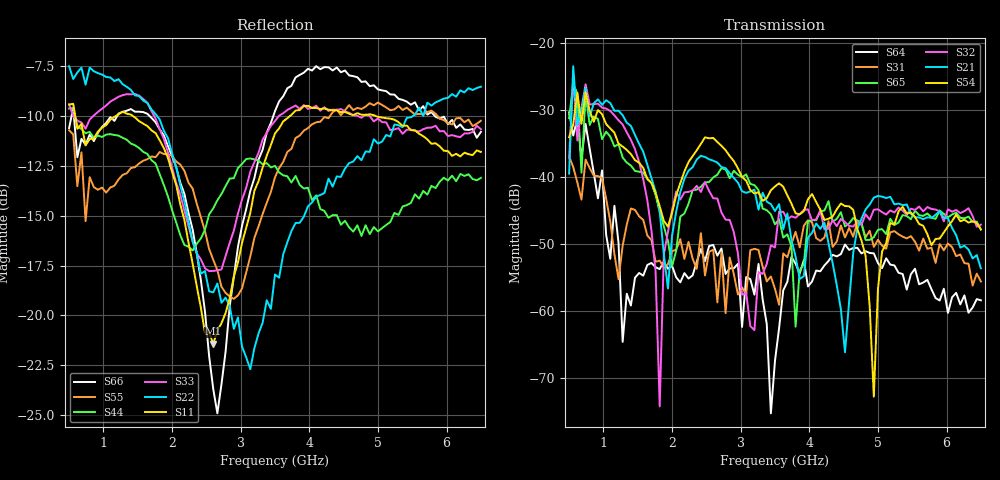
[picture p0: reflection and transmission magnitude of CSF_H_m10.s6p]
!Keysight Technologies,M9804A,MY58100912,A.14.10.03
!Date: Thursday, April 27, 2023 10:28:33
!Correction: S11(C  6-Port  )
!S12(C  6-Port  )
!S13(C  6-Port  )
!S14(C  6-Port  )
!S15(C  6-Port  )
!S16(C  6-Port  )
!S21(C  6-Port  )
!S22(C  6-Port  )
!S23(C  6-Port  )
!S24(C  6-Port  )
!S25(C  6-Port  )
!S26(C  6-Port  )
!S31(C  6-Port  )
!S32(C  6-Port  )
!S33(C  6-Port  )
!S34(C  6-Port  )
!S35(C  6-Port  )
!S36(C  6-Port  )
!S41(C  6-Port  )
!S42(C  6-Port  )
!S43(C  6-Port  )
!S44(C  6-Port  )
!S45(C  6-Port  )
!S46(C  6-Port  )
!S51(C  6-Port  )
!S52(C  6-Port  )
!S53(C  6-Port  )
!S54(C  6-Port  )
!S55(C  6-Port  )
!S56(C  6-Port  )
!S61(C  6-Port  )
!S62(C  6-Port  )
!S63(C  6-Port  )
!S64(C  6-Port  )
!S65(C  6-Port  )
!S66(C  6-Port  )
!S6P File: Measurement: :
# Hz S  RI  R 50
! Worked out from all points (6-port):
!   101 points, 500 MHz to 6.5 GHz, reference 50 ohm
!   strongest paths, dB at 500 MHz, 2 GHz, 3.5 GHz, 5 GHz, 6.5 GHz:
!     S54: -34.0, -45.4, -41.4, -56.7, -47.8
!     S21: -39.5, -48.8, -45.1, -42.8, -53.6
!     S32: -37.2, -45.0, -50.5, -44.8, -47.1
!     S65: -31.2, -53.3, -47.1, -47.9, -47.9
!     S31: -36.9, -51.1, -56.7, -49.4, -55.6
!     S64: -30.3, -53.3, -67.4, -52.8, -58.4
!   lowest |S11| = -21.4 dB at 2.6 GHz (marker M1), VSWR 1.19, Z = 42.5 + j2.19 ohm
!   |S11| at or under -10 dB: 589.8 MHz to 1.174 GHz (584.6 MHz wide, 66.3 % of centre); 1.434 GHz to 3.714 GHz (2.279 GHz wide, 88.5 % of centre); 4.978 GHz to end of sweep
